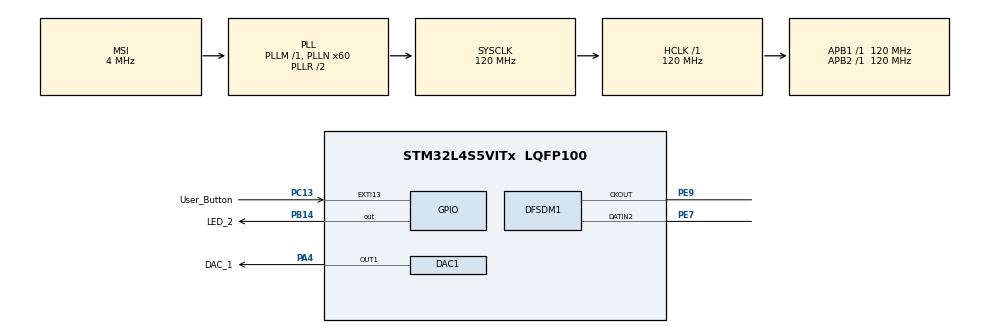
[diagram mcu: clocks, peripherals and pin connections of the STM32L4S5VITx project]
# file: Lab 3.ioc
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DAC1.DAC_HighFrequency-DAC_OUT1_ExtAndInt=DAC_HIGH_FREQUENCY_INTERFACE_MODE_AUTOMATIC
DAC1.DAC_Trigger-DAC_OUT1_ExtAndInt=DAC_TRIGGER_T2_TRGO
DFSDM1.Divider=60
DFSDM1.DmaMode_reg_FIL0=ENABLE
DFSDM1.FastMode_reg_FIL0=ENABLE
DFSDM1.FilterOrder_CH2=DFSDM_CHANNEL_FASTSINC_ORDER
DFSDM1.Filter_regChannel_FIL0=DFSDM_CHANNEL_2
DFSDM1.Fosr_FIL0=250
DFSDM1.SincOrder_FIL0=DFSDM_FILTER_SINC3_ORDER
Dma.DAC1_CH1.1.Direction=DMA_MEMORY_TO_PERIPH
Dma.DAC1_CH1.1.EventEnable=DISABLE
Dma.DAC1_CH1.1.Instance=DMA1_Channel1
Dma.DAC1_CH1.1.MemDataAlignment=DMA_MDATAALIGN_WORD
Dma.DAC1_CH1.1.MemInc=DMA_MINC_ENABLE
Dma.DAC1_CH1.1.Mode=DMA_NORMAL
Dma.DAC1_CH1.1.PeriphDataAlignment=DMA_PDATAALIGN_BYTE
Dma.DAC1_CH1.1.PeriphInc=DMA_PINC_DISABLE
Dma.DAC1_CH1.1.Polarity=HAL_DMAMUX_REQUEST_GEN_RISING
Dma.DAC1_CH1.1.Priority=DMA_PRIORITY_LOW
Dma.DAC1_CH1.1.RequestNumber=1
Dma.DAC1_CH1.1.SignalID=NONE
Dma.DAC1_CH1.1.SyncEnable=DISABLE
Dma.DAC1_CH1.1.SyncPolarity=HAL_DMAMUX_SYNC_NO_EVENT
Dma.DAC1_CH1.1.SyncRequestNumber=1
Dma.DAC1_CH1.1.SyncSignalID=NONE
Dma.DFSDM1_FLT0.0.Direction=DMA_PERIPH_TO_MEMORY
Dma.DFSDM1_FLT0.0.EventEnable=DISABLE
Dma.DFSDM1_FLT0.0.Instance=DMA1_Channel4
Dma.DFSDM1_FLT0.0.MemDataAlignment=DMA_MDATAALIGN_WORD
Dma.DFSDM1_FLT0.0.MemInc=DMA_MINC_ENABLE
Dma.DFSDM1_FLT0.0.Mode=DMA_CIRCULAR
Dma.DFSDM1_FLT0.0.PeriphDataAlignment=DMA_PDATAALIGN_WORD
Dma.DFSDM1_FLT0.0.PeriphInc=DMA_PINC_DISABLE
Dma.DFSDM1_FLT0.0.Polarity=HAL_DMAMUX_REQUEST_GEN_RISING
Dma.DFSDM1_FLT0.0.Priority=DMA_PRIORITY_LOW
Dma.DFSDM1_FLT0.0.RequestNumber=1
Dma.DFSDM1_FLT0.0.SignalID=NONE
Dma.DFSDM1_FLT0.0.SyncEnable=DISABLE
Dma.DFSDM1_FLT0.0.SyncPolarity=HAL_DMAMUX_SYNC_NO_EVENT
Dma.DFSDM1_FLT0.0.SyncRequestNumber=1
Dma.DFSDM1_FLT0.0.SyncSignalID=NONE
Dma.Request0=DFSDM1_FLT0
Dma.Request1=DAC1_CH1
Mcu.Family=STM32L4
Mcu.Name=STM32L4S5VITx
Mcu.Package=LQFP100
NVIC.DMA1_Channel1_IRQn=true\:0\:0\:false\:false\:true\:false\:true\:true
NVIC.DMA1_Channel4_IRQn=true\:0\:0\:false\:false\:true\:false\:true\:true
NVIC.EXTI15_10_IRQn=true\:0\:0\:false\:false\:true\:true\:true\:true
NVIC.PriorityGroup=NVIC_PRIORITYGROUP_4
NVIC.TIM2_IRQn=true\:0\:0\:false\:false\:true\:true\:true\:true
PA4.GPIO_Label=DAC_1
PA4.Signal=COMP_DAC11_group
PB14.GPIO_Label=LED_2
PB14.Signal=GPIO_Output
PC13.GPIO_Label=User_Button
PC13.Signal=GPXTI13
PE7.Signal=S_DATAIN2DFSDM1
PE9.Signal=S_CKOUTDFSDM1
ProjectManager.HeapSize=0x200
ProjectManager.StackSize=0x400
ProjectManager.TargetToolchain=STM32CubeIDE
RCC.ADCFreq_Value=16000000
RCC.AHBFreq_Value=120000000
RCC.APB1Freq_Value=120000000
RCC.APB1TimFreq_Value=120000000
RCC.APB2Freq_Value=120000000
RCC.APB2TimFreq_Value=120000000
RCC.CortexFreq_Value=120000000
RCC.HCLKFreq_Value=120000000
RCC.HSE_VALUE=8000000
RCC.HSI48_VALUE=48000000
RCC.HSI_VALUE=16000000
RCC.LSE_VALUE=32768
RCC.MSI_VALUE=4000000
RCC.PLLN=60
RCC.SYSCLKFreq_VALUE=120000000
RCC.SYSCLKSource=RCC_SYSCLKSOURCE_PLLCLK
RCC.USBFreq_Value=16000000
RCC.VCOOutputFreq_Value=240000000
SH.COMP_DAC11_group.0=DAC1_OUT1,DAC_OUT1_ExtAndInt
SH.S_CKOUTDFSDM1.0=DFSDM1_CKOUT,PDM_SPI_input_from_ch2_and_internal_clock
SH.S_CKOUTDFSDM1.1=DFSDM1_CKOUT,CKOUT
SH.S_DATAIN2DFSDM1.0=DFSDM1_DATIN2,PDM_SPI_input_from_ch2_and_internal_clock
TIM2.Period=15000
TIM2.Prescaler=0
TIM2.TIM_MasterOutputTrigger=TIM_TRGO_UPDATE
VP_TIM2_VS_ClockSourceINT.Mode=Internal
board=custom

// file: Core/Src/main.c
/* USER CODE BEGIN Header */
/**
  ******************************************************************************
  * @file           : main.c
  * @brief          : Main program body
  ******************************************************************************
  * @attention
  *
  * Copyright (c) 2023 STMicroelectronics.
  * All rights reserved.
  *
  * This software is licensed under terms that can be found in the LICENSE file
  * in the root directory of this software component.
  * If no LICENSE file comes with this software, it is provided AS-IS.
  *
  ******************************************************************************
  */
/* USER CODE END Header */
#include "main.h"

/* USER CODE BEGIN Includes */
#define ARM_MATH_CM4
#include "arm_math.h"
/* USER CODE END Includes */

/* USER CODE BEGIN PD */
#define LENGTH 16000

#define AUDIO_REC 16000

int32_t RecBuf[AUDIO_REC];
int32_t PlayBuf[AUDIO_REC];

uint8_t DMARecHalfBuffCplt = 0;
uint8_t DMARecBuffCplt = 0;

/* USER CODE END PD */

DAC_HandleTypeDef hdac1;
DMA_HandleTypeDef hdma_dac1_ch1;

DFSDM_Filter_HandleTypeDef hdfsdm1_filter0;
DFSDM_Channel_HandleTypeDef hdfsdm1_channel2;
DMA_HandleTypeDef hdma_dfsdm1_flt0;

TIM_HandleTypeDef htim2;

/* USER CODE BEGIN PV */

float x = 0;
int soundCounter = 0;

uint8_t sin_samples[44];
uint8_t sin_samples_2[33];
uint8_t sin_samples_3[22];

uint8_t curr_sample = 0;

uint32_t signal[LENGTH];

/* USER CODE END PV */

void SystemClock_Config(void);
static void MX_GPIO_Init(void);
static void MX_DMA_Init(void);
static void MX_DAC1_Init(void);
static void MX_TIM2_Init(void);
static void MX_DFSDM1_Init(void);

/* USER CODE BEGIN 0 */
void HAL_GPIO_EXTI_Callback (uint16_t GPIO_Pin){

	if(GPIO_Pin == User_Button_Pin){
  		HAL_GPIO_TogglePin(LED_2_GPIO_Port, LED_2_Pin);

  	    HAL_DFSDM_FilterRegularStart_DMA(&hdfsdm1_filter0, RecBuf, AUDIO_REC);

	}

}

/**
 * Timer 2 interrupt, frequency ~ 44kHz
 */
void HAL_TIM_PeriodElapsedCallback(TIM_HandleTypeDef *htim)
{
	if(htim->Instance == TIM2)
	{

	}

}

//void HAL_DFSDM_FilterRegConvCpltCallback (DFSDM_Filter_HandleTypeDef * hdfsdm_filter){
//	if(hdfsdm_filter == &hdfsdm1_filter0){
//
//		//Stop
//		HAL_DFSDM_FilterRegularStop_DMA(hdfsdm_filter);
//
//		// scale 24 bits to 8 bit channel
//		for(size_t i = 0; i < LENGTH; i++)
//		{
//			//Right shift to discard the padded bits
//			//Divide the remaining 24 bits by 65536 (16 bits) to get a value between 0 and 128
//			//Final value is 8 bits long (256 values)
//			signal[i] = (signal[i] >> 8)/65536 + 128;
//		}
//
//		//Output to the DAC the sound recorded
//		HAL_DAC_Start_DMA(&hdac1, DAC_CHANNEL_1, (uint32_t *)signal, LENGTH, DAC_ALIGN_8B_R);
//  		HAL_GPIO_TogglePin(LED_2_GPIO_Port, LED_2_Pin);
//
//
//	}
//}

void HAL_DFSDM_FilterRegConvHalfCpltCallback (DFSDM_Filter_HandleTypeDef * hdfsdm_filter){

	DMARecHalfBuffCplt = 1;

//	  if(DMARecHalfBuffCplt == 1){

		  uint8_t i = 0;
		  for(i = 0; i< AUDIO_REC / 2; i++){
			  PlayBuf[i] = (RecBuf[i] >>8);
		  }

		  DMARecHalfBuffCplt = 0;

//	  }

}

void HAL_DFSDM_FilterRegConvCpltCallback (DFSDM_Filter_HandleTypeDef * hdfsdm_filter){

	DMARecBuffCplt = 1;

//	  if(DMARecBuffCplt == 1){

		  uint8_t i = 0;
		  for(i = AUDIO_REC / 2; i< AUDIO_REC; i++){
			  PlayBuf[i] = (RecBuf[i] >>8);
		  }

		  DMARecBuffCplt = 0;

//	  }

//	  HAL_DFSDM_FilterRegularStop_DMA(hdfsdm_filter);

}

/* USER CODE END 0 */

int main(void)
{

  /* MCU Configuration--------------------------------------------------------*/

  /* Reset of all peripherals, Initializes the Flash interface and the Systick. */
  HAL_Init();

  /* Configure the system clock */
  SystemClock_Config();

  /* Initialize all configured peripherals */
  MX_GPIO_Init();
  MX_DMA_Init();
  MX_DAC1_Init();
  MX_TIM2_Init();
  MX_DFSDM1_Init();
  /* USER CODE BEGIN 2 */

  	//44 samples at 44kHz -> ~1kHz
//	for(uint8_t i = 0; i < 44; i++)
//	{
//		// scale signal to 80% of possible range (max is 215 ~ 83%)
//		sin_samples[i] = (uint8_t)((arm_sin_f32(x) * 87) + 128);
//		x+= 6.28319 / 44;
//
//	}
//
//  	//33 samples at 44kHz -> ~1.33kHz
//	x = 0;
//	for(uint8_t i = 0; i < 33; i++)
//	{
//		// scale signal to 80% of possible range (max is 215 ~ 83%)
//		sin_samples_2[i] = (uint32_t)((arm_sin_f32(x) * 87) + 128);
//		x+= 6.28319 / 33;
//
//	}
//
//  	//22 samples at 44kHz -> ~2kHz
//	x = 0;
//	for(uint8_t i = 0; i < 22; i++)
//	{
//		// scale signal to 80% of possible range (max is 215 ~ 83%)
//		sin_samples_3[i] = (uint32_t)((arm_sin_f32(x) * 87) + 128);
//		x+= 6.28319 / 22;
//	}

  //Launch the timer
  HAL_TIM_Base_Start_IT(&htim2);

  HAL_DAC_Start(&hdac1, DAC_CHANNEL_1);

//  HAL_DAC_Start_DMA(&hdac1, DAC_CHANNEL_1, &sin_samples, 44, DAC_ALIGN_8B_R);

//    HAL_DFSDM_FilterRegularStart_DMA(&hdfsdm1_filter0, RecBuf, AUDIO_REC);

  /* USER CODE END 2 */

  /* Infinite loop */
  while (1)
  {

  }
}

void SystemClock_Config(void)
{
  RCC_OscInitTypeDef RCC_OscInitStruct = {0};
  RCC_ClkInitTypeDef RCC_ClkInitStruct = {0};

  /** Configure the main internal regulator output voltage
  */
  if (HAL_PWREx_ControlVoltageScaling(PWR_REGULATOR_VOLTAGE_SCALE1_BOOST) != HAL_OK)
  {
    Error_Handler();
  }

  /** Initializes the RCC Oscillators according to the specified parameters
  * in the RCC_OscInitTypeDef structure.
  */
  RCC_OscInitStruct.OscillatorType = RCC_OSCILLATORTYPE_MSI;
  RCC_OscInitStruct.MSIState = RCC_MSI_ON;
  RCC_OscInitStruct.MSICalibrationValue = 0;
  RCC_OscInitStruct.MSIClockRange = RCC_MSIRANGE_6;
  RCC_OscInitStruct.PLL.PLLState = RCC_PLL_ON;
  RCC_OscInitStruct.PLL.PLLSource = RCC_PLLSOURCE_MSI;
  RCC_OscInitStruct.PLL.PLLM = 1;
  RCC_OscInitStruct.PLL.PLLN = 60;
  RCC_OscInitStruct.PLL.PLLP = RCC_PLLP_DIV2;
  RCC_OscInitStruct.PLL.PLLQ = RCC_PLLQ_DIV2;
  RCC_OscInitStruct.PLL.PLLR = RCC_PLLR_DIV2;
  if (HAL_RCC_OscConfig(&RCC_OscInitStruct) != HAL_OK)
  {
    Error_Handler();
  }

  /** Initializes the CPU, AHB and APB buses clocks
  */
  RCC_ClkInitStruct.ClockType = RCC_CLOCKTYPE_HCLK|RCC_CLOCKTYPE_SYSCLK
                              |RCC_CLOCKTYPE_PCLK1|RCC_CLOCKTYPE_PCLK2;
  RCC_ClkInitStruct.SYSCLKSource = RCC_SYSCLKSOURCE_PLLCLK;
  RCC_ClkInitStruct.AHBCLKDivider = RCC_SYSCLK_DIV1;
  RCC_ClkInitStruct.APB1CLKDivider = RCC_HCLK_DIV1;
  RCC_ClkInitStruct.APB2CLKDivider = RCC_HCLK_DIV1;

  if (HAL_RCC_ClockConfig(&RCC_ClkInitStruct, FLASH_LATENCY_5) != HAL_OK)
  {
    Error_Handler();
  }
}

static void MX_DAC1_Init(void)
{

  DAC_ChannelConfTypeDef sConfig = {0};

  /** DAC Initialization
  */
  hdac1.Instance = DAC1;
  if (HAL_DAC_Init(&hdac1) != HAL_OK)
  {
    Error_Handler();
  }

  /** DAC channel OUT1 config
  */
  sConfig.DAC_SampleAndHold = DAC_SAMPLEANDHOLD_DISABLE;
  sConfig.DAC_Trigger = DAC_TRIGGER_T2_TRGO;
  sConfig.DAC_HighFrequency = DAC_HIGH_FREQUENCY_INTERFACE_MODE_AUTOMATIC;
  sConfig.DAC_OutputBuffer = DAC_OUTPUTBUFFER_ENABLE;
  sConfig.DAC_ConnectOnChipPeripheral = DAC_CHIPCONNECT_ENABLE;
  sConfig.DAC_UserTrimming = DAC_TRIMMING_FACTORY;
  if (HAL_DAC_ConfigChannel(&hdac1, &sConfig, DAC_CHANNEL_1) != HAL_OK)
  {
    Error_Handler();
  }

}

static void MX_DFSDM1_Init(void)
{

  hdfsdm1_filter0.Instance = DFSDM1_Filter0;
  hdfsdm1_filter0.Init.RegularParam.Trigger = DFSDM_FILTER_SW_TRIGGER;
  hdfsdm1_filter0.Init.RegularParam.FastMode = ENABLE;
  hdfsdm1_filter0.Init.RegularParam.DmaMode = ENABLE;
  hdfsdm1_filter0.Init.FilterParam.SincOrder = DFSDM_FILTER_SINC3_ORDER;
  hdfsdm1_filter0.Init.FilterParam.Oversampling = 250;
  hdfsdm1_filter0.Init.FilterParam.IntOversampling = 1;
  if (HAL_DFSDM_FilterInit(&hdfsdm1_filter0) != HAL_OK)
  {
    Error_Handler();
  }
  hdfsdm1_channel2.Instance = DFSDM1_Channel2;
  hdfsdm1_channel2.Init.OutputClock.Activation = ENABLE;
  hdfsdm1_channel2.Init.OutputClock.Selection = DFSDM_CHANNEL_OUTPUT_CLOCK_SYSTEM;
  hdfsdm1_channel2.Init.OutputClock.Divider = 60;
  hdfsdm1_channel2.Init.Input.Multiplexer = DFSDM_CHANNEL_EXTERNAL_INPUTS;
  hdfsdm1_channel2.Init.Input.DataPacking = DFSDM_CHANNEL_STANDARD_MODE;
  hdfsdm1_channel2.Init.Input.Pins = DFSDM_CHANNEL_SAME_CHANNEL_PINS;
  hdfsdm1_channel2.Init.SerialInterface.Type = DFSDM_CHANNEL_SPI_RISING;
  hdfsdm1_channel2.Init.SerialInterface.SpiClock = DFSDM_CHANNEL_SPI_CLOCK_INTERNAL;
  hdfsdm1_channel2.Init.Awd.FilterOrder = DFSDM_CHANNEL_FASTSINC_ORDER;
  hdfsdm1_channel2.Init.Awd.Oversampling = 1;
  hdfsdm1_channel2.Init.Offset = 0;
  hdfsdm1_channel2.Init.RightBitShift = 0x00;
  if (HAL_DFSDM_ChannelInit(&hdfsdm1_channel2) != HAL_OK)
  {
    Error_Handler();
  }
  if (HAL_DFSDM_FilterConfigRegChannel(&hdfsdm1_filter0, DFSDM_CHANNEL_2, DFSDM_CONTINUOUS_CONV_ON) != HAL_OK)
  {
    Error_Handler();
  }

}

static void MX_TIM2_Init(void)
{

  TIM_ClockConfigTypeDef sClockSourceConfig = {0};
  TIM_MasterConfigTypeDef sMasterConfig = {0};

  htim2.Instance = TIM2;
  htim2.Init.Prescaler = 0;
  htim2.Init.CounterMode = TIM_COUNTERMODE_UP;
  htim2.Init.Period = 15000;
  htim2.Init.ClockDivision = TIM_CLOCKDIVISION_DIV1;
  htim2.Init.AutoReloadPreload = TIM_AUTORELOAD_PRELOAD_DISABLE;
  if (HAL_TIM_Base_Init(&htim2) != HAL_OK)
  {
    Error_Handler();
  }
  sClockSourceConfig.ClockSource = TIM_CLOCKSOURCE_INTERNAL;
  if (HAL_TIM_ConfigClockSource(&htim2, &sClockSourceConfig) != HAL_OK)
  {
    Error_Handler();
  }
  sMasterConfig.MasterOutputTrigger = TIM_TRGO_UPDATE;
  sMasterConfig.MasterSlaveMode = TIM_MASTERSLAVEMODE_DISABLE;
  if (HAL_TIMEx_MasterConfigSynchronization(&htim2, &sMasterConfig) != HAL_OK)
  {
    Error_Handler();
  }

}

static void MX_DMA_Init(void)
{

  /* DMA controller clock enable */
  __HAL_RCC_DMAMUX1_CLK_ENABLE();
  __HAL_RCC_DMA1_CLK_ENABLE();

  /* DMA interrupt init */
  /* DMA1_Channel1_IRQn interrupt configuration */
  HAL_NVIC_SetPriority(DMA1_Channel1_IRQn, 0, 0);
  HAL_NVIC_EnableIRQ(DMA1_Channel1_IRQn);
  /* DMA1_Channel4_IRQn interrupt configuration */
  HAL_NVIC_SetPriority(DMA1_Channel4_IRQn, 0, 0);
  HAL_NVIC_EnableIRQ(DMA1_Channel4_IRQn);

}

static void MX_GPIO_Init(void)
{
  GPIO_InitTypeDef GPIO_InitStruct = {0};

  /* GPIO Ports Clock Enable */
  __HAL_RCC_GPIOC_CLK_ENABLE();
  __HAL_RCC_GPIOA_CLK_ENABLE();
  __HAL_RCC_GPIOE_CLK_ENABLE();
  __HAL_RCC_GPIOB_CLK_ENABLE();

  /*Configure GPIO pin Output Level */
  HAL_GPIO_WritePin(LED_2_GPIO_Port, LED_2_Pin, GPIO_PIN_RESET);

  /*Configure GPIO pin : User_Button_Pin */
  GPIO_InitStruct.Pin = User_Button_Pin;
  GPIO_InitStruct.Mode = GPIO_MODE_IT_RISING;
  GPIO_InitStruct.Pull = GPIO_NOPULL;
  HAL_GPIO_Init(User_Button_GPIO_Port, &GPIO_InitStruct);

  /*Configure GPIO pin : LED_2_Pin */
  GPIO_InitStruct.Pin = LED_2_Pin;
  GPIO_InitStruct.Mode = GPIO_MODE_OUTPUT_PP;
  GPIO_InitStruct.Pull = GPIO_NOPULL;
  GPIO_InitStruct.Speed = GPIO_SPEED_FREQ_LOW;
  HAL_GPIO_Init(LED_2_GPIO_Port, &GPIO_InitStruct);

  /* EXTI interrupt init*/
  HAL_NVIC_SetPriority(EXTI15_10_IRQn, 0, 0);
  HAL_NVIC_EnableIRQ(EXTI15_10_IRQn);

}

void Error_Handler(void)
{
  __disable_irq();
  while (1)
  {
  }
}
